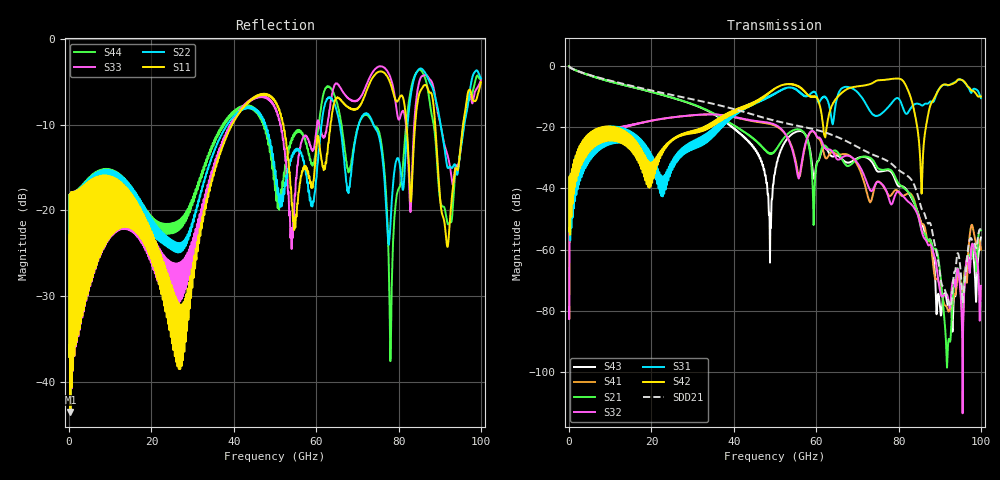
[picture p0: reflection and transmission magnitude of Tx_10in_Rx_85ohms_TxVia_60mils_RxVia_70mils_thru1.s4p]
! Info: Touchstone file created by Circ.  Input file=Tx_10in_Rx_85ohms_TxVia_60mils_RxVia_70mils.circ
# Hz S RI R 50
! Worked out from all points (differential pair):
!   10000 points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, 10 MHz to 100 GHz, reference 50 ohm
!   strongest paths, dB at 10 MHz, 25.01 GHz, 50.01 GHz, 75.01 GHz, 100 GHz:
!     S42: -54.1, -24.4, -7.4, -4.7, -10.0
!     S31: -54.1, -33.0, -9.0, -16.2, -10.5
!     S32: -78.7, -16.8, -19.2, -37.9, -71.8
!     S21: -0.1, -10.4, -27.9, -33.4, -53.7
!     S41: -78.8, -16.8, -19.5, -37.7, -59.9
!     S43: -0.1, -10.4, -34.8, -34.5, -56.0
!   taken as a pair (ports 1,3 in; 2,4 out), SDD21 dB: -0.1, -9.5, -17.9, -29.7, -53.3
!   lowest |S11| = -43.5 dB at 320 MHz (marker M1), VSWR 1.01, Z = 49.4 - j0.194 ohm
!   |S11| at or under -10 dB: start of sweep to 39.59 GHz; 52.05 GHz to 63.47 GHz (11.42 GHz wide, 19.8 % of centre); 88.91 GHz to 95.7 GHz (6.794 GHz wide, 7.36 % of centre) (the widest 3 of 4)
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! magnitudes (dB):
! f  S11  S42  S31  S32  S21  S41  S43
! 10 MHz  -37.1  -54.1  -54.1  -78.7  -0.1  -78.8  -0.1
! 320 MHz  -43.5  -41.4  -41.4  -45.6  -0.6  -45.6  -0.6
! 38.78 GHz  -10.8  -15.3  -16.3  -16.4  -18.3  -16.5  -19.1
! 78.22 GHz  -5.4  -4.3  -12.3  -45.2  -34.1  -42.2  -34.7
! 85.57 GHz  -5.9  -41.5  -12.9  -53.5  -53.9  -51.5  -51.5
! 91.44 GHz  -22.6  -6.1  -6.2  -74.6  -88.0  -78.3  -74.7
! 100 GHz  -5.1  -10.0  -10.5  -71.8  -53.7  -59.9  -56.0
